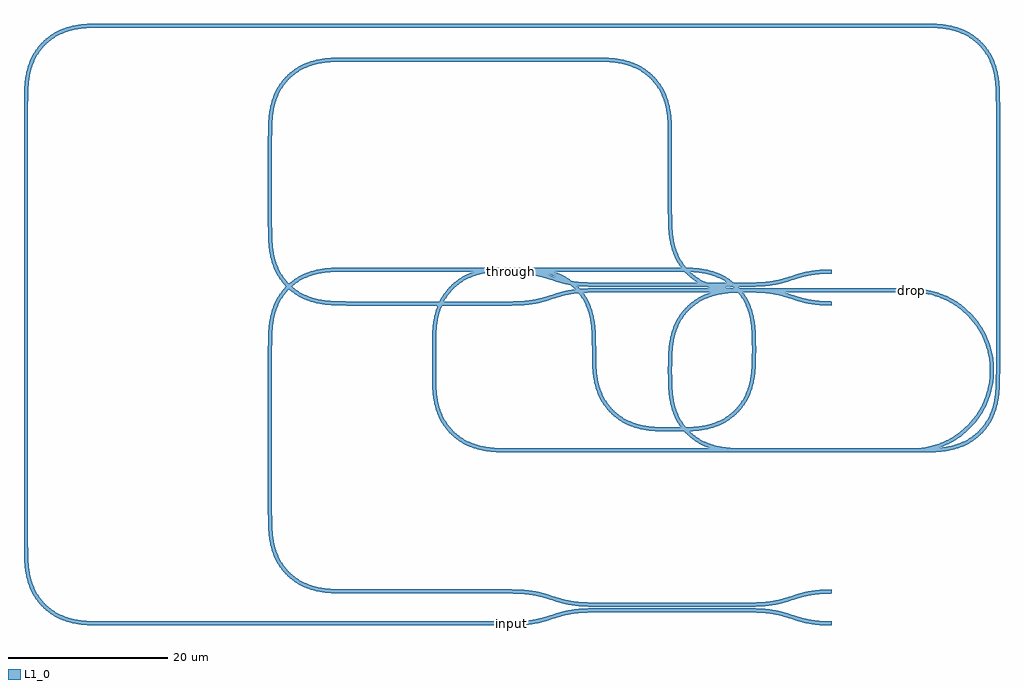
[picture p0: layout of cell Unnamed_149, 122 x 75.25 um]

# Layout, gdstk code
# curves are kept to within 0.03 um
from math import pi, radians
import gdstk
lib = gdstk.Library(unit=1e-6, precision=1e-09)
def R(c, l, rs):  # rectangles x0, y0, x1, y1
    for r in rs: c.add(gdstk.rectangle(r[:2], r[2:], *l))
def P(c, l, *ps):  # polygons
    for p in ps: c.add(gdstk.Polygon(p, *l))
L1_0 = (1, 0)

coupler_gdsfactorypcompo = lib.new_cell('coupler_gdsfactorypcomponentspcouplerspcoupler_G0p236_L_75dd060a')
P(coupler_gdsfactorypcompo, L1_0, [(-10,-1.882),(-10,-1.382),(-8.633,-1.335),(-7.417,-1.193),(-6.249,-0.938),(-4.05,-0.258),(-3.065,-0.019),(-1.652,0.182),(-0.303,0.248),(21.144,0.219),(22.346,0.103),(23.349,-0.08),(24.296,-0.33),(26.086,-0.893),(27.222,-1.159),(28.511,-1.326),(30,-1.382),(30,-1.882),(28.856,-1.851),(27.877,-1.764),(26.291,-1.466),(23.994,-0.762),(23.059,-0.528),(22.062,-0.364),(20.854,-0.267),(-0.297,-0.252),(-1.725,-0.327),(-3.059,-0.528),(-3.994,-0.762),(-6.034,-1.397),(-7.335,-1.686),(-8.597,-1.834)],
  [(0,0.486),(-1.403,0.534),(-2.665,0.682),(-3.796,0.925),(-6.086,1.629),(-7.126,1.877),(-8.511,2.062),(-10,2.118),(-10,2.618),(-8.597,2.57),(-7.335,2.422),(-6.204,2.179),(-3.914,1.475),(-2.874,1.227),(-1.489,1.042),(0,0.986),(21.116,1.016),(22.17,1.114),(23.24,1.303),(25.95,2.11),(27.032,2.368),(28.348,2.55),(30,2.618),(30,2.118),(28.511,2.062),(27.222,1.895),(26.086,1.629),(23.532,0.858),(22.56,0.665),(21.403,0.534),(20,0.486)])

bend_circular_gdsfactory = lib.new_cell('bend_circular_gdsfactorypcomponentspbendspbend_circular_4b1750de')
P(bend_circular_gdsfactory, L1_0, [(0,-0.25),(0,0.25),(1.232,0.328),(2.204,0.502),(3.154,0.774),(4.294,1.246),(4.946,1.598),(5.771,2.141),(6.536,2.765),(7.067,3.283),(7.71,4.032),(8.141,4.635),(8.642,5.486),(9.054,6.383),(9.374,7.318),(9.597,8.28),(9.722,9.26),(9.75,10),(9.722,10.74),(9.597,11.72),(9.374,12.682),(9.054,13.617),(8.642,14.514),(8.141,15.365),(7.71,15.968),(7.067,16.717),(6.536,17.235),(5.771,17.859),(4.946,18.402),(4.294,18.754),(3.154,19.226),(2.204,19.498),(1.232,19.672),(0,19.75),(0,20.25),(1.037,20.197),(2.063,20.04),(2.82,19.855),(3.802,19.519),(4.746,19.085),(5.641,18.558),(6.477,17.944),(7.248,17.248),(7.944,16.477),(8.558,15.641),(9.085,14.746),(9.519,13.802),(9.855,12.82),(10.04,12.063),(10.197,11.037),(10.25,10),(10.197,8.963),(10.04,7.937),(9.855,7.18),(9.519,6.198),(9.085,5.254),(8.558,4.359),(7.944,3.523),(7.248,2.752),(6.477,2.056),(5.641,1.442),(4.746,0.915),(3.802,0.481),(2.82,0.145),(2.063,-0.04),(1.037,-0.197)])

bend_euler_gdsfactorypco = lib.new_cell('bend_euler_gdsfactorypcomponentspbendspbend_euler_R10_A_335c8724')
P(bend_euler_gdsfactorypco, L1_0, [(0,-0.25),(0,0.25),(1.655,0.269),(2.881,0.353),(3.952,0.52),(4.99,0.806),(5.731,1.113),(6.431,1.505),(7.079,1.976),(7.575,2.425),(8.024,2.921),(8.495,3.569),(8.887,4.269),(9.194,5.01),(9.48,6.048),(9.647,7.119),(9.731,8.345),(9.75,10),(10.25,10),(10.235,8.468),(10.158,7.205),(10.023,6.224),(9.797,5.254),(9.457,4.312),(9.066,3.545),(8.5,2.715),(7.928,2.072),(7.285,1.5),(6.455,0.934),(5.688,0.543),(4.746,0.203),(3.776,-0.023),(2.795,-0.158),(1.532,-0.235)])

straight_gdsfactorypcomp = lib.new_cell('straight_gdsfactorypcomponentspwaveguidespstraight_L20p_992d5ae8')
R(straight_gdsfactorypcomp, L1_0, [(0,-0.25,20.25,0.25)])

c_straight_gdsfactorypcomp = lib.new_cell('straight_gdsfactorypcomponentspwaveguidespstraight_L40p_850e770e')
R(c_straight_gdsfactorypcomp, L1_0, [(0,-0.25,40.501,0.25)])

c_straight_gdsfactorypcomp_ = lib.new_cell('straight_gdsfactorypcomponentspwaveguidespstraight_L2p6_46ebc8d5')
R(c_straight_gdsfactorypcomp_, L1_0, [(0,-0.25,2.618,0.25)])

c_straight_gdsfactorypcomp__ = lib.new_cell('straight_gdsfactorypcomponentspwaveguidespstraight_L49p_b63913c5')
R(c_straight_gdsfactorypcomp__, L1_0, [(0,-0.25,49.749,0.25)])

c_straight_gdsfactorypcomp___ = lib.new_cell('straight_gdsfactorypcomponentspwaveguidespstraight_L50p_34575252')
R(c_straight_gdsfactorypcomp___, L1_0, [(0,-0.25,50.75,0.25)])

c_straight_gdsfactorypcomp____ = lib.new_cell('straight_gdsfactorypcomponentspwaveguidespstraight_L54p_3f78e4f1')
R(c_straight_gdsfactorypcomp____, L1_0, [(0,-0.25,54.75,0.25)])

c_straight_gdsfactorypcomp_____ = lib.new_cell('straight_gdsfactorypcomponentspwaveguidespstraight_L101_57ba1894')
R(c_straight_gdsfactorypcomp_____, L1_0, [(0,-0.25,101.501,0.25)])

c_straight_gdsfactorypcomp______ = lib.new_cell('straight_gdsfactorypcomponentspwaveguidespstraight_L33p_c1974fa3')
R(c_straight_gdsfactorypcomp______, L1_0, [(0,-0.25,33.118,0.25)])

c_straight_gdsfactorypcomp_______ = lib.new_cell('straight_gdsfactorypcomponentspwaveguidespstraight_L21p_c1d5149c')
R(c_straight_gdsfactorypcomp_______, L1_0, [(0,-0.25,21.001,0.25)])

c_straight_gdsfactorypcomp________ = lib.new_cell('straight_gdsfactorypcomponentspwaveguidespstraight_L8p8_938dcb31')
R(c_straight_gdsfactorypcomp________, L1_0, [(0,-0.25,8.868,0.25)])

c_straight_gdsfactorypcomp_________ = lib.new_cell('straight_gdsfactorypcomponentspwaveguidespstraight_L30__23ab0482')
R(c_straight_gdsfactorypcomp_________, L1_0, [(0,-0.25,30,0.25)])

c_straight_gdsfactorypcomp__________ = lib.new_cell('straight_gdsfactorypcomponentspwaveguidespstraight_L10p_da623fc9')
R(c_straight_gdsfactorypcomp__________, L1_0, [(0,-0.25,10.5,0.25)])

unnamed_149 = lib.new_cell('Unnamed_149')
P(unnamed_149, L1_0, [(-10,-1.882),(-10.25,-1.632),(-10.062,-1.444),(-10.025,-1.444),(-10.215,-1.632),(-10.025,-1.632),(-10.025,-1.444),(-10.062,-1.444),(-10,-1.382)],
  [(-10,42.118),(-10.25,42.368),(-10.062,42.556),(-10.025,42.556),(-10.215,42.368),(-10.025,42.368),(-10.025,42.556),(-10.062,42.556),(-10,42.618)],
  [(40,39.75),(39.75,40),(39.938,40.188),(39.975,40.188),(39.785,40),(39.975,40),(39.975,40.188),(39.938,40.188),(40,40.25)])
unnamed_149.add(gdstk.Reference(coupler_gdsfactorypcompo, (0,0)))
unnamed_149.add(gdstk.Reference(coupler_gdsfactorypcompo, (0,40)))
unnamed_149.add(gdstk.Reference(bend_circular_gdsfactory, (40,20)))
unnamed_149.add(gdstk.Reference(bend_euler_gdsfactorypco, (-40.25,12.368), rotation=3*pi/2))
unnamed_149.add(gdstk.Reference(straight_gdsfactorypcomp, (-10,2.368), rotation=pi))
unnamed_149.add(gdstk.Reference(bend_euler_gdsfactorypco, (-30.25,42.618), rotation=pi))
unnamed_149.add(gdstk.Reference(straight_gdsfactorypcomp, (-40.25,12.368), rotation=pi/2))
unnamed_149.add(gdstk.Reference(bend_euler_gdsfactorypco, (20.251,32.618), rotation=pi/2))
unnamed_149.add(gdstk.Reference(c_straight_gdsfactorypcomp, (-30.25,42.618)))
unnamed_149.add(gdstk.Reference(bend_euler_gdsfactorypco, (10.251,22.618)))
unnamed_149.add(gdstk.Reference(bend_euler_gdsfactorypco, (0.251,32.618), rotation=3*pi/2))
unnamed_149.add(gdstk.Reference(bend_euler_gdsfactorypco, (-9.749,42.618), x_reflection=True))
unnamed_149.add(gdstk.Reference(bend_euler_gdsfactorypco, (-19.749,32.618), rotation=pi/2, x_reflection=True))
unnamed_149.add(gdstk.Reference(bend_euler_gdsfactorypco, (-9.749,20), rotation=pi, x_reflection=True))
unnamed_149.add(gdstk.Reference(c_straight_gdsfactorypcomp_, (-19.749,32.618), rotation=3*pi/2))
unnamed_149.add(gdstk.Reference(c_straight_gdsfactorypcomp__, (-9.749,20)))
unnamed_149.add(gdstk.Reference(bend_euler_gdsfactorypco, (-70.75,8.368), rotation=3*pi/2))
unnamed_149.add(gdstk.Reference(c_straight_gdsfactorypcomp___, (-10,-1.632), rotation=pi))
unnamed_149.add(gdstk.Reference(bend_euler_gdsfactorypco, (-60.75,73.118), rotation=pi))
unnamed_149.add(gdstk.Reference(c_straight_gdsfactorypcomp____, (-70.75,8.368), rotation=pi/2))
unnamed_149.add(gdstk.Reference(bend_euler_gdsfactorypco, (50.751,63.118), rotation=pi/2))
unnamed_149.add(gdstk.Reference(c_straight_gdsfactorypcomp_____, (-60.75,73.118)))
unnamed_149.add(gdstk.Reference(bend_euler_gdsfactorypco, (40.751,20)))
unnamed_149.add(gdstk.Reference(c_straight_gdsfactorypcomp______, (50.751,63.118), rotation=3*pi/2))
unnamed_149.add(gdstk.Reference(bend_euler_gdsfactorypco, (9.75,30), rotation=3*pi/2))
unnamed_149.add(gdstk.Reference(c_straight_gdsfactorypcomp_______, (40.751,20), rotation=pi))
unnamed_149.add(gdstk.Reference(bend_euler_gdsfactorypco, (19.75,40), rotation=pi))
unnamed_149.add(gdstk.Reference(straight_gdsfactorypcomp, (19.75,40)))
unnamed_149.add(gdstk.Reference(bend_euler_gdsfactorypco, (9.75,50), rotation=3*pi/2))
unnamed_149.add(gdstk.Reference(straight_gdsfactorypcomp, (40,40), rotation=pi))
unnamed_149.add(gdstk.Reference(bend_euler_gdsfactorypco, (-0.25,68.868), x_reflection=True))
unnamed_149.add(gdstk.Reference(c_straight_gdsfactorypcomp________, (9.75,50), rotation=pi/2))
unnamed_149.add(gdstk.Reference(bend_euler_gdsfactorypco, (-40.25,58.868), rotation=pi/2, x_reflection=True))
unnamed_149.add(gdstk.Reference(c_straight_gdsfactorypcomp_________, (-0.25,68.868), rotation=pi))
unnamed_149.add(gdstk.Reference(bend_euler_gdsfactorypco, (-30.25,38.368), rotation=pi, x_reflection=True))
unnamed_149.add(gdstk.Reference(c_straight_gdsfactorypcomp__________, (-40.25,58.868), rotation=3*pi/2))
unnamed_149.add(gdstk.Reference(straight_gdsfactorypcomp, (-30.25,38.368)))
unnamed_149.add(gdstk.Label('input', (-10,-1.632), layer=1, texttype=0))
unnamed_149.add(gdstk.Label('through', (-10,42.368), layer=1, texttype=0))
unnamed_149.add(gdstk.Label('drop', (40,40), layer=1, texttype=0))

lib.write_gds('Unnamed_149.gds')
